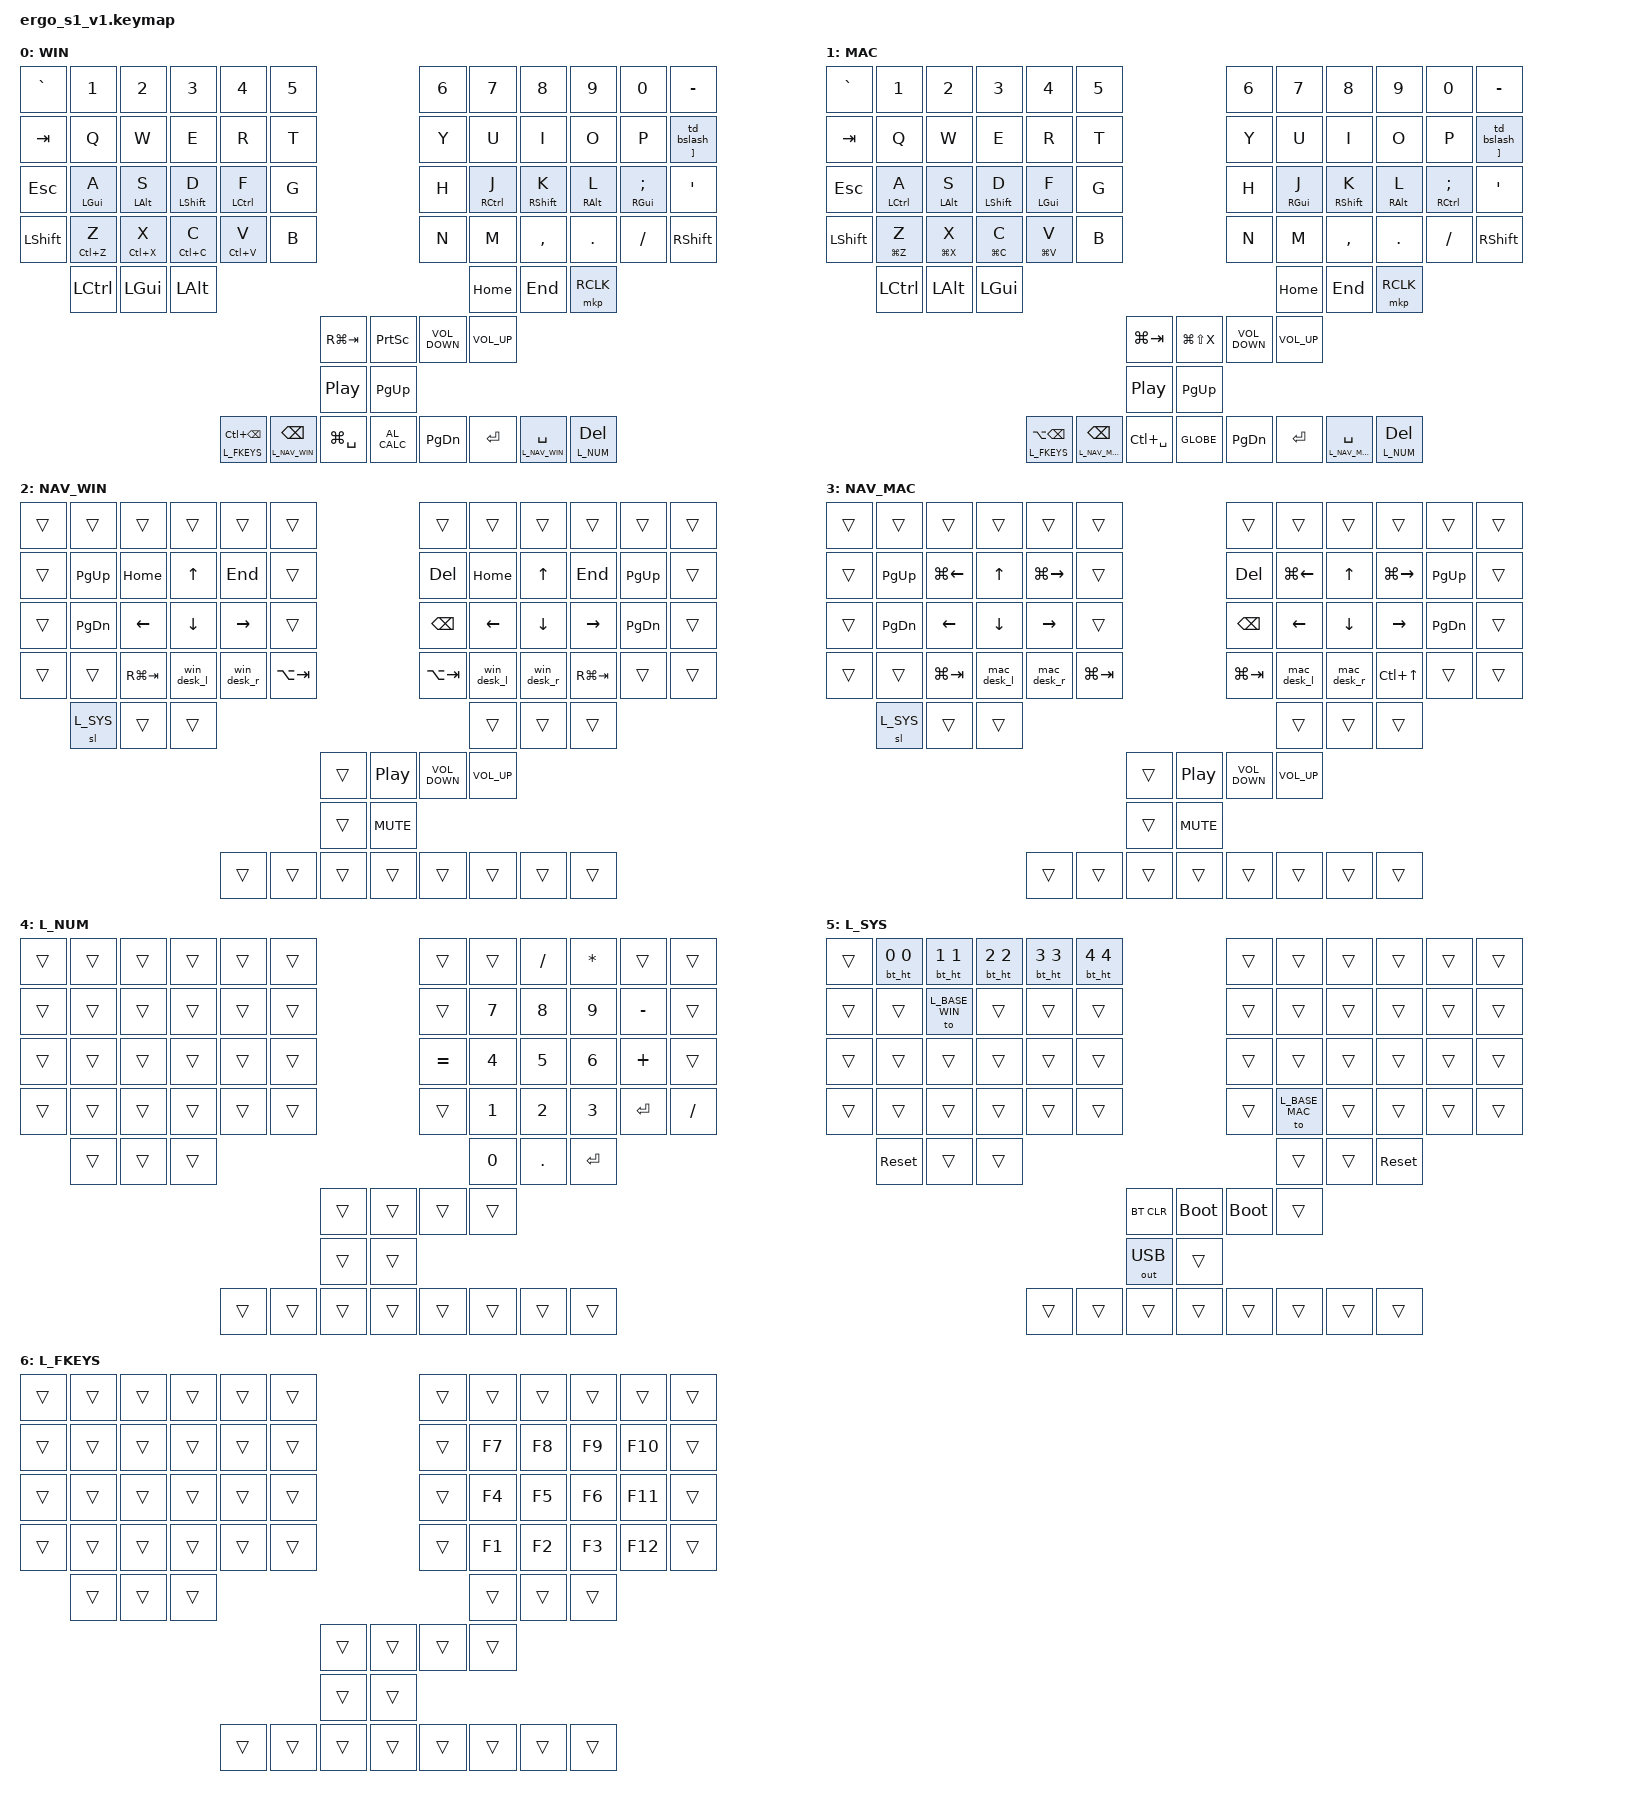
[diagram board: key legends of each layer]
/*
 * Copyright (c) 2021 The ZMK Contributors
 *
 * SPDX-License-Identifier: MIT
 */

#include <behaviors.dtsi>
#include <dt-bindings/zmk/keys.h>
#include <dt-bindings/zmk/bt.h>
#include <dt-bindings/zmk/outputs.h>
#include <dt-bindings/zmk/mouse.h>

// Local files
#include "keymap_bluetooth.dtsi"


// Layer indices
#define L_BASE_WIN  0
#define L_BASE_MAC  1
#define L_NAV_WIN   2
#define L_NAV_MAC   3
#define L_NUM       4
#define L_SYS       5 // on update - update combos file too
#define L_FKEYS     6

/ {
    #include "keymap_combos.dtsi"

    conditional_layers {
        compatible = "zmk,conditional-layers";
        tri_layer_win {
            if-layers = <L_NAV_WIN L_NUM>;
            then-layer = <L_SYS>;
        };
        tri_layer_mac {
            if-layers = <L_NAV_MAC L_NUM>;
            then-layer = <L_SYS>;
        };
    };

    behaviors {
    // Home Row Mod - hold tap
        hmr: home_row_mod_right {
            compatible = "zmk,behavior-hold-tap";
            #binding-cells = <2>;
            flavor = "balanced";
            tapping-term-ms = <280>;
            quick-tap-ms = <175>;
            require-prior-idle-ms = <150>; // if a key was pressed <150ms ago, resolve instantly to TAP — kills accidental mods during fast typing
            bindings = <&kp>, <&kp>;
            hold-trigger-key-positions = <
                0  1  2  3  4  5   // top left
                12 13 14 15 16 17  // Q row left
                24 25 26 27 28 29  // home row left
                36 37 38 39 40 41  // Z row left
                48 49 50
                86 87
                103
                54 55 58 60 61 62 63
            >;
            hold-trigger-on-release;
        };
        hml: home_row_mod_left {
            compatible = "zmk,behavior-hold-tap";
            #binding-cells = <2>;
            flavor = "balanced";
            tapping-term-ms = <280>;
            quick-tap-ms = <175>;
            require-prior-idle-ms = <150>; // if a key was pressed <150ms ago, resolve instantly to TAP — kills accidental mods during fast typing
            bindings = <&kp>, <&kp>;
            hold-trigger-key-positions = <
                6  7  8  9  10 11     // right number row
                18 19 20 21 22 23     // right Q row
                30 31 32 33 34 35     // right home row
                42 43 44 45 46 47     // right Z row
                51 52 53              // right bottom partial
                56 57 59 64 65 66 67  // right thumbs
            >;
            hold-trigger-on-release;
        };

    // My Mod Tap - for different kp on tap and hold
        my_mt: my_mt {
            compatible = "zmk,behavior-hold-tap";
            #binding-cells = <2>;
            flavor = "tap-preferred";
            tapping-term-ms = <300>;
            bindings = <&kp>, <&kp>;
        };

    // workaround for ru x and ъ
    // Tap=BACKSLASH, double-tap=LEFT_BRACKET ru x
        td_bslash: td_bslash {
            compatible = "zmk,behavior-tap-dance";
            #binding-cells = <0>;
            tapping-term-ms = <300>;
            bindings = <&kp BACKSLASH>, <&kp LEFT_BRACKET>;
        };
    // Hold=RIGHT_BRACKET, tap/double-tap via td_bslash (0 is dummy for tap-dance's 0 binding cells)
        bslash_ht: bslash_ht {
            compatible = "zmk,behavior-hold-tap";
            #binding-cells = <2>;
            flavor = "tap-preferred";
            tapping-term-ms = <300>;
            bindings = <&kp>, <&td_bslash>;
        };
    // My Layer Mod Tap - Hold for momentary layer switch, tap for regular key
        my_lt: my_lt {
            compatible = "zmk,behavior-hold-tap";
            #binding-cells = <2>;
            flavor = "tap-preferred";
            tapping-term-ms = <300>;
            bindings = <&mo>, <&kp>;
        };

    // Windows desktop switcher
        // switch left
        win_desk_l: win_desk_l {
            compatible = "zmk,behavior-macro";
            label = "WS_PREV";
            #binding-cells = <0>;
            bindings = <
                &kp LC(RG(LEFT))
            >;
        };
        // switch right
        win_desk_r: win_desk_r {
            compatible = "zmk,behavior-macro";
            label = "WS_NEXT";
            #binding-cells = <0>;
            bindings = <
                &kp LC(RG(RIGHT))
            >;
        };

    // macOS desktop switcher (Mission Control spaces)
        // switch left
        mac_desk_l: mac_desk_l {
            compatible = "zmk,behavior-macro";
            label = "MAC_WS_PREV";
            #binding-cells = <0>;
            bindings = <
                &kp LC(LEFT)
            >;
        };
        // switch right
        mac_desk_r: mac_desk_r {
            compatible = "zmk,behavior-macro";
            label = "MAC_WS_NEXT";
            #binding-cells = <0>;
            bindings = <
                &kp LC(RIGHT)
            >;
        };


    };




    keymap {
        compatible = "zmk,keymap";
// ▄▄▄▄▄▄▄▄▄▄▄▄▄▄▄▄▄▄▄▄▄▄▄▄▄▄▄▄▄▄▄▄▄▄▄▄▄▄▄▄▄▄▄▄▄▄▄▄▄▄▄▄▄▄▄▄▄▄▄▄▄▄▄▄▄▄▄▄▄▄▄▄▄▄▄▄▄▄▄▄▄▄▄▄▄▄▄▄▄▄▄▄▄▄▄▄▄▄▄▄▄▄▄▄▄▄▄▄▄▄▄▄▄▄▄▄▄▄▄▄▄▄▄▄▄▄▄▄▄▄▄▄▄▄▄▄▄▄▄▄▄▄▄▄▄▄▄▄▄▄▄▄▄▄▄
// BSPC - BACKSPACE
// M RBC - Mouse Right Button Click
// CALC - Calculator
// PTSC

        base_win {
            display-name = "WIN";

// |   `   | 1     |   2   |   3     |   4    |   5       |                                      |   6       |   7     |   8   |   9   |   0   |  BSPC |  
// |  TAB  | Q     |   W   |   E     |   R    |   T       |                                      |   Y       |   U     |   I   |   O   |   P   |  PIPE |
// |  ESC  | A WIN | S ALT | D SHIFT | F CTRL |   G       |                                      |   H CTRL  | J SHIFT | K ALT | L WIN |   ;   |  '    |
// | SHIFT | Z     |   X   |   C     |   V    |   B       |                                      |   N       |   M     |   ,   |   .   |   /   | SHIFT | 
//         | WIN   | LEFT  | RIGHT   |                                                                                 | SW27  |  SW26 | M RBC | 
//                                                        | WTERM |  PTSC |    | CALC    | SW28   
//                                                                |  SW30 |    | PG UP    
//                                   | BSPC   | SPACE nav | SW33  |  SW34 |    | PG DOWN | ENTER | SPACE nav | DEL     |

            bindings = <      
 //|              |               |               |                |                        |         |                |        |    |                                   |                   |                |                 |            |               |
    &kp GRAVE      &kp N1          &kp N2          &kp N3           &kp N4                   &kp N5                                                                       &kp N6              &kp N7           &kp N8            &kp N9       &kp N0          &kp MINUS
    &kp TAB        &kp Q           &kp W           &kp E            &kp R                    &kp T                                                                        &kp Y               &kp U            &kp I             &kp O        &kp P           &bslash_ht RIGHT_BRACKET 0
    &kp ESCAPE     &hml LGUI A     &hml LALT S     &hml LSHIFT D    &hml LCTRL F             &kp G                                                                        &kp H               &hmr RCTRL J     &hmr RSHFT K      &hmr RALT L  &hmr RGUI SEMI  &kp SINGLE_QUOTE
    &kp LEFT_SHIFT &my_mt LC(Z) Z  &my_mt LC(X) X  &my_mt LC(C) C   &my_mt LC(V) V           &kp B                                                                        &kp N               &kp M            &kp COMMA         &kp PERIOD   &kp SLASH       &kp RIGHT_SHIFT
                   &kp LCTRL       &kp LGUI        &kp LALT                                                                                                                                   &kp HOME         &kp END           &mkp RCLK      
                                                                                                                    &kp RG(TAB)   &kp PSCRN     &kp C_VOLUME_DOWN         &kp C_VOLUME_UP
                                                                                                                                  &kp C_PP      &kp PAGE_UP 
                                                                    &my_lt L_FKEYS LC(BSPC)  &my_lt L_NAV_WIN BACKSPACE &kp LG(SPACE) &kp C_AL_CALC &kp PAGE_DOWN &kp RETURN  &my_lt L_NAV_WIN SPACE  &my_lt L_NUM DEL 
            >;
        };

// ▄▄▄▄▄▄▄▄▄▄▄▄▄▄▄▄▄▄▄▄▄▄▄▄▄▄▄▄▄▄▄▄▄▄▄▄▄▄▄▄▄▄▄▄▄▄▄▄▄▄▄▄▄▄▄▄▄▄▄▄▄▄▄▄▄▄▄▄▄▄▄▄▄▄▄▄▄▄▄▄▄▄▄▄▄▄▄▄▄▄▄▄▄▄▄▄▄▄▄▄▄▄▄▄▄▄▄▄▄▄▄▄▄▄▄▄▄▄▄▄▄▄▄▄▄▄▄▄▄▄▄▄▄▄▄▄▄▄▄▄▄▄▄▄▄▄▄▄▄▄▄▄▄▄▄
        base_mac {
            display-name = "MAC";

// |   `   | 1      |   2   |   3     |   4    |   5       |                                      |   6        |   7     |   8   |   9    |   0    |  BSPC |  
// |  TAB  | Q      |   W   |   E     |   R    |   T       |                                      |   Y        |   U     |   I   |   O    |   P    |  PIPE |
// |  ESC  | A CTRL | S ALT | D SHIFT | F CMD  |   G       |                                      |   H CMD    | J SHIFT | K ALT | L CTRL |   ;    |  '    |
// | SHIFT | Z      |   X   |   C     |   V    |   B       |                                      |   N        |   M     |   ,   |   .    |   /    | SHIFT | 
//         | CTRL   | ALT   | CMD     |                                                                                  | SW27  |  SW26  | M RBC  | 
//                                                          | APPSW |  SCRN |    | VOLD    | VOLU   
//                                                                  |  PLAY |    | PG UP    
//                                     | BSPC   | SPACE nav | SW33  |  SW34 |    | PG DOWN | ENTER | SPACE nav | DEL     |

            bindings = <      
 //|              |               |               |                |                        |         |                |        |    |                                   |                    |                |                 |             |                |
    &kp GRAVE      &kp N1          &kp N2          &kp N3           &kp N4                   &kp N5                                                                       &kp N6               &kp N7           &kp N8            &kp N9        &kp N0           &kp MINUS
    &kp TAB        &kp Q           &kp W           &kp E            &kp R                    &kp T                                                                        &kp Y                &kp U            &kp I             &kp O         &kp P            &bslash_ht RIGHT_BRACKET 0
    &kp ESCAPE     &hml LCTRL A    &hml LALT S     &hml LSHIFT D    &hml LGUI F              &kp G                                                                        &kp H                &hmr RGUI J      &hmr RSHFT K      &hmr RALT L   &hmr RCTRL SEMI  &kp SINGLE_QUOTE
    &kp LEFT_SHIFT &my_mt LG(Z) Z  &my_mt LG(X) X  &my_mt LG(C) C   &my_mt LG(V) V          &kp B                                                                        &kp N                &kp M            &kp COMMA         &kp PERIOD    &kp SLASH        &kp RIGHT_SHIFT
                   &kp LCTRL       &kp LALT        &kp LGUI                                                                                                                                    &kp HOME         &kp END           &mkp RCLK      
                                                                                                                    &kp LG(TAB)   &kp LG(LS(X)) &kp C_VOLUME_DOWN        &kp C_VOLUME_UP
                                                                                                                                  &kp C_PP       &kp PAGE_UP 
                                                                    &my_lt L_FKEYS LA(BSPC)  &my_lt L_NAV_MAC BACKSPACE &kp LC(SPACE) &kp GLOBE &kp PAGE_DOWN &kp RETURN  &my_lt L_NAV_MAC SPACE  &my_lt L_NUM DEL 
            >;
        };

// ▄▄▄▄▄▄▄▄▄▄▄▄▄▄▄▄▄▄▄▄▄▄▄▄▄▄▄▄▄▄▄▄▄▄▄▄▄▄▄▄▄▄▄▄▄▄▄▄▄▄▄▄▄▄▄▄▄▄▄▄▄▄▄▄▄▄▄▄▄▄▄▄▄▄▄▄▄▄▄▄▄▄▄▄▄▄▄▄▄▄▄▄▄▄▄▄▄▄▄▄▄▄▄▄▄▄▄▄▄▄▄▄▄▄▄▄▄▄▄▄▄▄▄▄▄▄▄▄▄▄▄▄▄▄▄▄▄▄▄▄▄▄▄▄▄▄▄▄▄▄▄▄▄▄▄
        navigation_win {
            display-name = "NAV_WIN";
            bindings = <
 //|       |          |            |           |            |       |       |      | |       |       |                  |                 |             |         |         |       |
    &trans  &trans     &trans       &trans      &trans       &trans                                   &trans             &trans            &trans       &trans    &trans    &trans
    &trans  &kp PG_UP  &kp HOME     &kp UP      &kp END      &trans                                   &kp DEL            &kp HOME          &kp UP       &kp END   &kp PG_UP &trans
    &trans  &kp PG_DN  &kp LEFT     &kp DOWN    &kp RIGHT    &trans                                   &kp BACKSPACE      &kp LEFT          &kp DOWN     &kp RIGHT &kp PG_DN &trans
    &trans  &trans     &kp RG(TAB)  &win_desk_l &win_desk_r  &kp LA(TAB)                              &kp LA(TAB)        &win_desk_l       &win_desk_r  &kp RG(TAB) &trans  &trans
            &sl L_SYS  &trans       &trans                                                                                                 &trans       &trans  &trans
                                                                          &trans  &kp C_PP            &kp C_VOLUME_DOWN  &kp C_VOLUME_UP
                                                                                  &trans              &kp C_MUTE                      
                                                &trans       &trans       &trans  &trans              &trans             &trans            &trans       &trans
            >;

        };

// ▄▄▄▄▄▄▄▄▄▄▄▄▄▄▄▄▄▄▄▄▄▄▄▄▄▄▄▄▄▄▄▄▄▄▄▄▄▄▄▄▄▄▄▄▄▄▄▄▄▄▄▄▄▄▄▄▄▄▄▄▄▄▄▄▄▄▄▄▄▄▄▄▄▄▄▄▄▄▄▄▄▄▄▄▄▄▄▄▄▄▄▄▄▄▄▄▄▄▄▄▄▄▄▄▄▄▄▄▄▄▄▄▄▄▄▄▄▄▄▄▄▄▄▄▄▄▄▄▄▄▄▄▄▄▄▄▄▄▄▄▄▄▄▄▄▄▄▄▄▄▄▄▄▄▄
        navigation_mac {
            display-name = "NAV_MAC";
            bindings = <
 //|       |          |            |           |            |       |       |      | |       |       |                  |                 |             |         |         |       |
    &trans  &trans     &trans       &trans      &trans       &trans                                   &trans             &trans            &trans       &trans    &trans    &trans
    &trans  &kp PG_UP  &kp LG(LEFT)  &kp UP      &kp LG(RIGHT) &trans                                   &kp DEL            &kp LG(LEFT)      &kp UP       &kp LG(RIGHT) &kp PG_UP &trans
    &trans  &kp PG_DN  &kp LEFT      &kp DOWN    &kp RIGHT     &trans                                   &kp BACKSPACE      &kp LEFT          &kp DOWN     &kp RIGHT     &kp PG_DN &trans
    &trans  &trans     &kp LG(TAB)   &mac_desk_l &mac_desk_r   &kp LG(TAB)                              &kp LG(TAB)        &mac_desk_l       &mac_desk_r  &kp LC(UP)  &trans  &trans
            &sl L_SYS  &trans       &trans                                                                                                 &trans       &trans  &trans
                                                                          &trans  &kp C_PP            &kp C_VOLUME_DOWN  &kp C_VOLUME_UP
                                                                                  &trans              &kp C_MUTE                      
                                                &trans       &trans       &trans  &trans              &trans             &trans            &trans       &trans
            >;

        };

// ▄▄▄▄▄▄▄▄▄▄▄▄▄▄▄▄▄▄▄▄▄▄▄▄▄▄▄▄▄▄▄▄▄▄▄▄▄▄▄▄▄▄▄▄▄▄▄▄▄▄▄▄▄▄▄▄▄▄▄▄▄▄▄▄▄▄▄▄▄▄▄▄▄▄▄▄▄▄▄▄▄▄▄▄▄▄▄▄▄▄▄▄▄▄▄▄▄▄▄▄▄▄▄▄▄▄▄▄▄▄▄▄▄▄▄▄▄▄▄▄▄▄▄▄▄▄▄▄▄▄▄▄▄▄▄▄▄▄▄▄▄▄▄▄▄▄▄▄▄▄▄▄▄▄▄
        numbers_layer {
            display-name = "L_NUM";
            bindings = <
 //|       |       |       |       |       |       |       |      | |       |       |         |       |          |             |       |       |
    &trans  &trans  &trans  &trans  &trans  &trans                                   &trans    &trans  &kp SLASH  &kp ASTERISK  &trans      &trans
    &trans  &trans  &trans  &trans  &trans  &trans                                   &trans    &kp N7  &kp N8     &kp N9        &kp MINUS   &trans
    &trans  &trans  &trans  &trans  &trans  &trans                                   &kp EQUAL &kp N4  &kp N5     &kp N6        &kp PLUS    &trans
    &trans  &trans  &trans  &trans  &trans  &trans                                   &trans    &kp N1  &kp N2     &kp N3        &kp RETURN  &kp SLASH
            &trans  &trans  &trans                                                                     &kp N0     &kp DOT       &kp RETURN
                                                    &trans  &trans                   &trans    &trans
                                                            &trans                   &trans  
                                    &trans  &trans  &trans  &trans                   &trans    &trans  &trans     &trans
            >;

        };



// ▄▄▄▄▄▄▄▄▄▄▄▄▄▄▄▄▄▄▄▄▄▄▄▄▄▄▄▄▄▄▄▄▄▄▄▄▄▄▄▄▄▄▄▄▄▄▄▄▄▄▄▄▄▄▄▄▄▄▄▄▄▄▄▄▄▄▄▄▄▄▄▄▄▄▄▄▄▄▄▄▄▄▄▄▄▄▄▄▄▄▄▄▄▄▄▄▄▄▄▄▄▄▄▄▄▄▄▄▄▄▄▄▄▄▄▄▄▄▄▄▄▄▄▄▄▄▄▄▄▄▄▄▄▄▄▄▄▄▄▄▄▄▄▄▄▄▄▄▄▄▄▄▄▄▄
        system_layer {
            // Called by top-outer corners, both halves

            // Bluetooth - Tap   = force OUT_BLE + select profile N; Hold ≥3s = disconnect profile N
            display-name = "L_SYS";
            bindings = <
 //|       |            |               |           |           |          |                 |      |    |    |               |       |       |       |       |       |       |
    &trans  &bt_ht 0 0   &bt_ht 1 1     &bt_ht 2 2  &bt_ht 3 3  &bt_ht 4 4                                                 &trans  &trans  &trans  &trans  &trans  &trans
    &trans  &trans       &to L_BASE_WIN &trans       &trans   &trans                                                     &trans  &trans  &trans  &trans  &trans  &trans
    &trans  &trans       &trans         &trans      &trans      &trans                                                     &trans  &trans  &trans  &trans  &trans  &trans
    &trans  &trans       &trans         &trans      &trans      &trans                                                     &trans  &to L_BASE_MAC  &trans  &trans  &trans  &trans
            &sys_reset   &trans         &trans                                                                                     &trans  &trans  &sys_reset
                                                                           &bt BT_CLR   &bootloader           &bootloader  &trans
                                                                                        &out OUT_USB          &trans
                                                    &trans      &trans     &trans       &trans                &trans  &trans  &trans  &trans                                                                
            >;
        };


// ▄▄▄▄▄▄▄▄▄▄▄▄▄▄▄▄▄▄▄▄▄▄▄▄▄▄▄▄▄▄▄▄▄▄▄▄▄▄▄▄▄▄▄▄▄▄▄▄▄▄▄▄▄▄▄▄▄▄▄▄▄▄▄▄▄▄▄▄▄▄▄▄▄▄▄▄▄▄▄▄▄▄▄▄▄▄▄▄▄▄▄▄▄▄▄▄▄▄▄▄▄▄▄▄▄▄▄▄▄▄▄▄▄▄▄▄▄▄▄▄▄▄▄▄▄▄▄▄▄▄▄▄▄▄▄▄▄▄▄▄▄▄▄▄▄▄▄▄▄▄▄▄▄▄▄
        fkeys_layer {
            display-name = "L_FKEYS";
            bindings = <
 //|       |       |       |       |       |       |       |      | |       |       |       |       |       |       |       |       |
    &trans  &trans  &trans  &trans  &trans  &trans                                   &trans  &trans  &trans  &trans  &trans  &trans
    &trans  &trans  &trans  &trans  &trans  &trans                                   &trans  &kp F7  &kp F8  &kp F9  &kp F10  &trans
    &trans  &trans  &trans  &trans  &trans  &trans                                   &trans  &kp F4  &kp F5  &kp F6  &kp F11  &trans
    &trans  &trans  &trans  &trans  &trans  &trans                                   &trans  &kp F1  &kp F2  &kp F3  &kp F12  &trans
            &trans  &trans  &trans                                                                   &trans  &trans  &trans
                                                    &trans  &trans                   &trans  &trans
                                                            &trans                   &trans
                                    &trans  &trans  &trans  &trans                   &trans  &trans  &trans  &trans                                                                
            >;
        };
#if 0
// ▄▄▄▄▄▄▄▄▄▄▄▄▄▄▄▄▄▄▄▄▄▄▄▄▄▄▄▄▄▄▄▄▄▄▄▄▄▄▄▄▄▄▄▄▄▄▄▄▄▄▄▄▄▄▄▄▄▄▄▄▄▄▄▄▄▄▄▄▄▄▄▄▄▄▄▄▄▄▄▄▄▄▄▄▄▄▄▄▄▄▄▄▄▄▄▄▄▄▄▄▄▄▄▄▄▄▄▄▄▄▄▄▄▄▄▄▄▄▄▄▄▄▄▄▄▄▄▄▄▄▄▄▄▄▄▄▄▄▄▄▄▄▄▄▄▄▄▄▄▄▄▄▄▄▄
        template_REPLACE_ME {
            display-name = "template_REPLACE_ME";
            bindings = <
 //|       |       |       |       |       |       |       |      | |       |       |       |       |       |       |       |       |
    &trans  &trans  &trans  &trans  &trans  &trans                                   &trans  &trans  &trans  &trans  &trans  &trans
    &trans  &trans  &trans  &trans  &trans  &trans                                   &trans  &trans  &trans  &trans  &trans  &trans
    &trans  &trans  &trans  &trans  &trans  &trans                                   &trans  &trans  &trans  &trans  &trans  &trans
    &trans  &trans  &trans  &trans  &trans  &trans                                   &trans  &trans  &trans  &trans  &trans  &trans
            &trans  &trans  &trans                                                                   &trans  &trans  &trans
                                                    &trans  &trans                   &trans  &trans
                                                            &trans                   &trans
                                    &trans  &trans  &trans  &trans                   &trans  &trans  &trans  &trans                                                                
            >;
        };
#endif
    };
};
